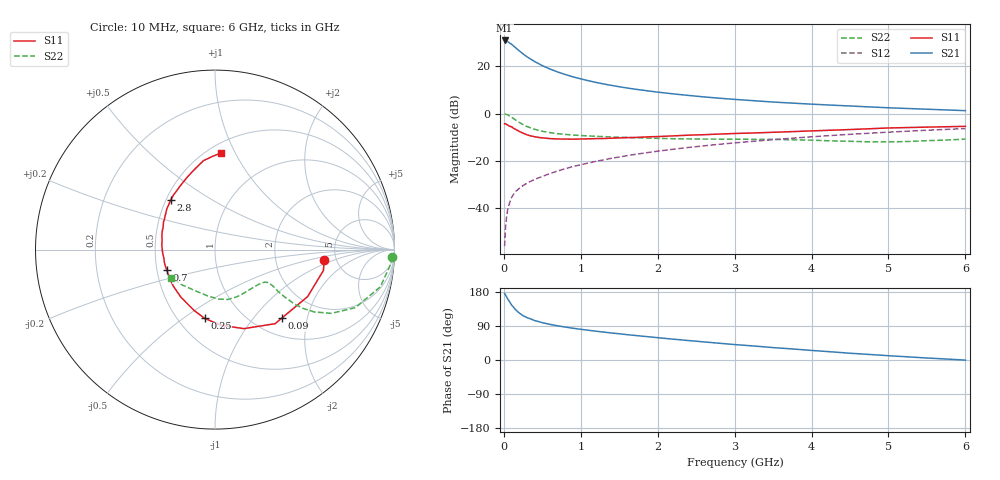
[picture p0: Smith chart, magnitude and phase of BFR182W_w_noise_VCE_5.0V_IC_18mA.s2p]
! Infineon Technologies  Discrete & RF Semiconductors
! BFR182W
! VCE =  5.0 V,  IC =  18 mA
! Common Emitter S-Parameters:  Jan 2017
# GHz  S  MA  R  50
!  f  S11  S21  S12  S22
! GHz  MAG  ANG  MAG  ANG  MAG  ANG  MAG  ANG
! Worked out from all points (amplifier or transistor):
!   77 points, 10 MHz to 6 GHz, reference 50 ohm
!   highest |S21| = 30.9 dB at 10 MHz (marker M1)
!   |S21| within 3 dB of that: start of sweep to 151.2 MHz
!   unconditionally stable (mu >= 1): 881.7 MHz to 2.36 GHz
!   at 130 MHz: K = 0.39, MSG = 31.2 dB, |S12| = -33.9 dB
!   at 2.2 GHz: K = 1.01, MAG = 11.1 dB, |S12| = -15.0 dB
!   at 6 GHz: K = 0.87, MSG = 3.8 dB, |S12| = -6.3 dB
!   lowest NFmin = 1.34 dB at 450 MHz
!   S11 on the Smith chart (normalised r, x): 10 MHz: 3.99, -0.75; 90 MHz: 1.32, -1.41; 250 MHz: 0.67, -0.61; 700 MHz: 0.56, -0.14; 2.8 GHz: 0.53, +0.34; 6 GHz: 0.58, +0.88
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0.01  0.6111 -5.5  35.01 175.6  0.0016 81.6  0.9878 -2.4
0.02  0.6152 -10.9  35.01 172.1  0.0037 92.4  0.9788 -5.3
0.05  0.5786 -26.9  33.27 161.1  0.0094 80.3  0.9441 -12.7
0.09  0.5332 -45.8  29.82 148.7  0.0155 72.7  0.8631 -20.4
0.1  0.5317 -50.9  29.21 145.2  0.017 71.6  0.8456 -22.5
0.15  0.469 -69.9  24.88 133.1  0.0226 66.4  0.7401 -28.7
0.2  0.4224 -85.6  21.17 124.1  0.0264 64.4  0.6538 -32.1
0.25  0.3875 -98.6  18.24 117.0  0.0305 63.3  0.5877 -33.8
0.3  0.3581 -109.1  15.86 111.9  0.034 63.2  0.5348 -34.4
0.4  0.3264 -125.6  12.54 104.0  0.041 64.8  0.4669 -34.2
0.5  0.3088 -138.8  10.3 98.5  0.0473 65.6  0.4251 -33.6
0.6  0.2977 -148.8  8.742 94.0  0.0545 66.4  0.3973 -32.7
0.7  0.2921 -157.3  7.568 90.2  0.0617 68.1  0.3783 -32.1
0.9  0.289 -170.6  5.967 83.8  0.0766 69.0  0.3539 -31.8
1.1  0.2942 179.4  4.947 78.5  0.091 69.6  0.339 -32.5
1.5  0.3075 163.8  3.695 69.2  0.1217 68.9  0.3183 -35.9
2.1  0.3337 146.6  2.728 57.0  0.1694 66.0  0.2985 -45.8
2.8  0.3709 131.6  2.118 44.2  0.2255 61.5  0.2903 -60.8
3.1  0.3853 125.6  1.948 39.3  0.2496 59.1  0.2883 -67.0
4.1  0.4383 109.4  1.557 23.8  0.3328 50.8  0.2723 -88.4
5.1  0.5029 96.3  1.311 10.1  0.4147 41.3  0.2553 -119.7
6  0.54 86.4  1.157 -0.3  0.4845 32.2  0.29 -147.1
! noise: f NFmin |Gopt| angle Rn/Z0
0.45  1.34  0.07  174  0.15
0.9  1.41  0.08  179  0.15
1.9  1.93  0.27  -144  0.15
2.4  2.18  0.27  -129  0.24
